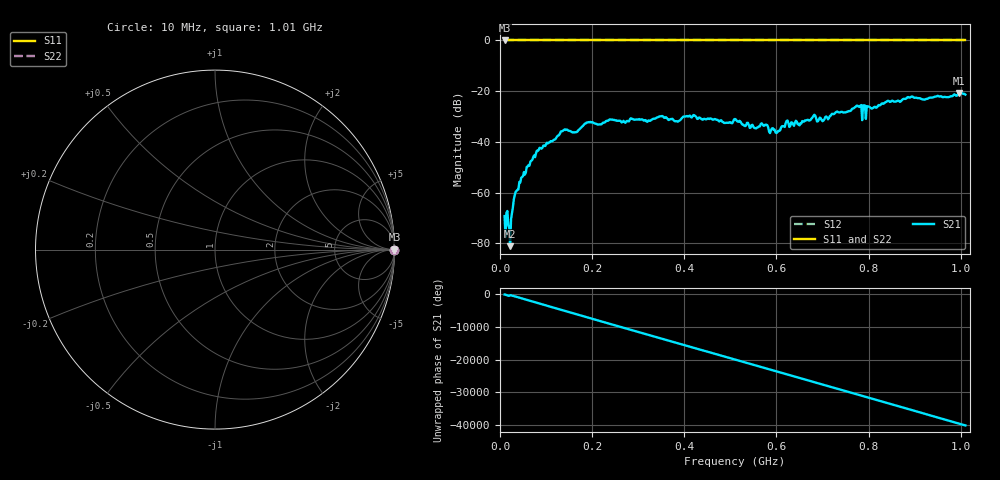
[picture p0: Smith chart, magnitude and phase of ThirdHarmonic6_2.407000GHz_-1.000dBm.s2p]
! 8/17/2025 4:00:50 AM
! C:\ANRITSUVNA\TEMP\TEMP.S2P
! CHANNEL.1
! TR.MEASUREMENT
! RAW.DATA
! RF.CORRECTION.OFF
! AVERAGING.OFF
! IF.BANDWIDTH: 5KHZ
! SWEEPTYPE:  FREQ.SWEEP(Linear)
! Reference Plane Port Info
! PORT:  PORT1  PORT2
! DISTANCE:  0  m  0  m
! TIME:  0  s  0  s
! PHASE.OFFSET:  0  deg.  0  deg.
! LOSS:  0  dB  0  dB
! REF.LOSS:  0  dB  0  dB
! REF.FREQ:  0  Hz  0  Hz
! Power Info
! POWER:  -20  dBm  -20  dBm
! EFF.POWER:  -20  dBm  -20  dBm
! SOURCE.ATTEN:  0  dB  0  dB
! TEST.ATTEN:  0  dB  0  dB
# GHZ S RI R 50.0
! FREQ.GHZ  S11RE  S11IM  S21RE  S21IM  S12RE  S12IM  S22RE  S22IM
!; PortSelection: Port_12
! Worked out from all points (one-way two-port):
!   501 points, 10 MHz to 1.01 GHz, reference 50 ohm
!   highest |S21| = -20.69 dB at 996 MHz (marker M1); lowest = -81.2 dB at 22 MHz (marker M2)
!   lowest |S11| = 0.0 dB at 10 MHz (marker M3)
!   |S11| at or under -10 dB: nowhere
!   |S22| runs from 0.0 to 0.0 dB; largest |S21 - S12| = 1.1
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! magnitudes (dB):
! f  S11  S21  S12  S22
! 10 MHz  0.0  -69.3  0.0  0.0
! 22 MHz  0.0  -81.2  0.0  0.0
! 34 MHz  0.0  -59.7  0.0  0.0
! 48 MHz  0.0  -53.9  0.0  0.0
! 82 MHz  0.0  -43.6  0.0  0.0
! 136 MHz  0.0  -35.7  0.0  0.0
! 164 MHz  0.0  -36.2  0.0  0.0
! 178 MHz  0.0  -34.0  0.0  0.0
! 192 MHz  0.0  -32.2  0.0  0.0
! 344 MHz  0.0  -30.2  0.0  0.0
! 382 MHz  0.0  -31.8  0.0  0.0
! 510 MHz  0.0  -31.0  0.0  0.0
! 602 MHz  0.0  -36.2  0.0  0.0
! 622 MHz  0.0  -31.7  0.0  0.0
! 650 MHz  0.0  -33.5  0.0  0.0
! 678 MHz  0.0  -30.4  0.0  0.0
! 700 MHz  0.0  -31.8  0.0  0.0
! 774 MHz  0.0  -25.7  0.0  0.0
! 790 MHz  0.0  -25.6  0.0  0.0
! 844 MHz  0.0  -23.9  0.0  0.0
! 996 MHz  0.0  -20.7  0.0  0.0
! 1.01 GHz  0.0  -21.4  0.0  0.0
